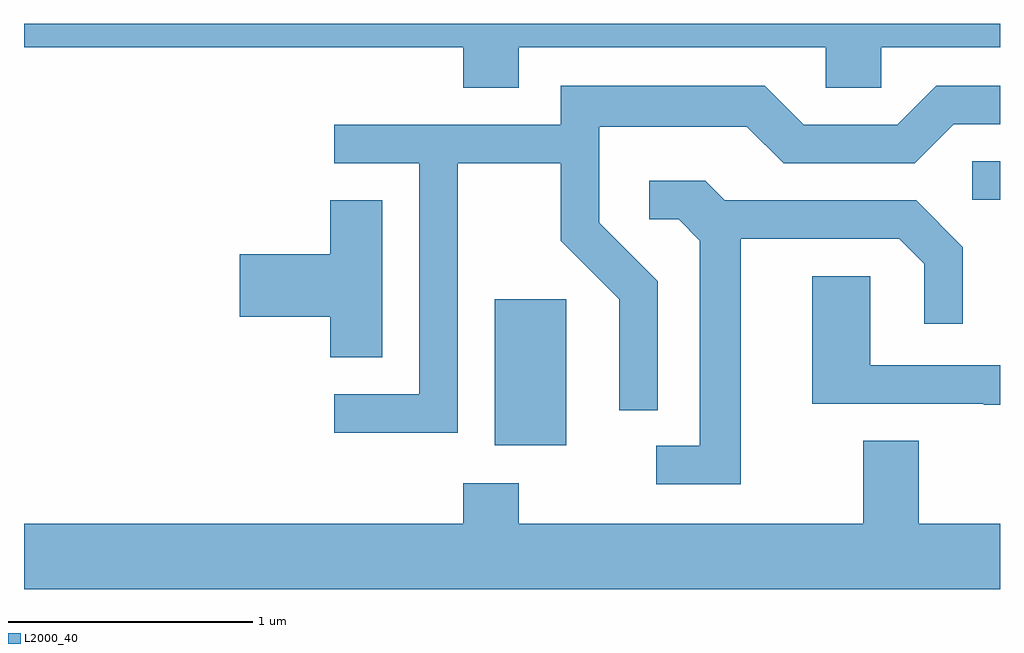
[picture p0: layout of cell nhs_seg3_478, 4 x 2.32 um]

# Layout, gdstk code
import gdstk
lib = gdstk.Library(unit=1e-6, precision=1e-09)
def R(c, l, rs):  # rectangles x0, y0, x1, y1
    for r in rs: c.add(gdstk.rectangle(r[:2], r[2:], *l))
def P(c, l, *ps):  # polygons
    for p in ps: c.add(gdstk.Polygon(p, *l))
L2000_40 = (2000, 40)

nhs_seg3_478 = lib.new_cell('nhs_seg3_478')
R(nhs_seg3_478, L2000_40, [(201.541,1122.166,201.834,1122.764), (203.498,1123.171,203.611,1123.329)])
P(nhs_seg3_478, L2000_40, [(201.639,1123.796),(202.896,1123.796),(202.896,1123.631),(203.124,1123.631),(203.124,1123.796),(203.611,1123.796),(203.611,1123.892),(199.611,1123.892),(199.611,1123.796),(201.411,1123.796),(201.411,1123.631),(201.639,1123.631)],
  [(201.389,1123.321),(201.811,1123.321),(201.811,1123.004),(202.051,1122.764),(202.051,1122.308),(202.209,1122.308),(202.209,1122.837),(201.969,1123.077),(201.969,1123.471),(202.574,1123.471),(202.724,1123.321),(203.262,1123.321),(203.422,1123.481),(203.611,1123.481),(203.611,1123.639),(203.349,1123.639),(203.189,1123.479),(202.807,1123.479),(202.647,1123.639),(201.811,1123.639),(201.811,1123.479),(200.883,1123.479),(200.883,1123.321),(201.231,1123.321),(201.231,1122.374),(200.883,1122.374),(200.883,1122.216),(201.389,1122.216)],
  [(202.549,1123.011),(203.199,1123.011),(203.301,1122.909),(203.301,1122.663),(203.459,1122.663),(203.459,1122.977),(203.267,1123.169),(202.482,1123.169),(202.402,1123.249),(202.173,1123.249),(202.173,1123.091),(202.294,1123.091),(202.381,1123.004),(202.381,1122.164),(202.203,1122.164),(202.203,1122.006),(202.549,1122.006)],
  [(201.079,1123.169),(200.866,1123.169),(200.866,1122.949),(200.496,1122.949),(200.496,1122.691),(200.866,1122.691),(200.866,1122.526),(201.079,1122.526)],
  [(203.611,1122.494),(203.079,1122.494),(203.079,1122.859),(202.841,1122.859),(202.841,1122.336),(203.545,1122.336),(203.545,1122.331),(203.611,1122.331)],
  [(203.611,1121.844),(203.279,1121.844),(203.279,1122.184),(203.051,1122.184),(203.051,1121.844),(201.639,1121.844),(201.639,1122.009),(201.411,1122.009),(201.411,1121.844),(199.611,1121.844),(199.611,1121.576),(203.611,1121.576)])

lib.write_gds('nhs_seg3_478.gds')
